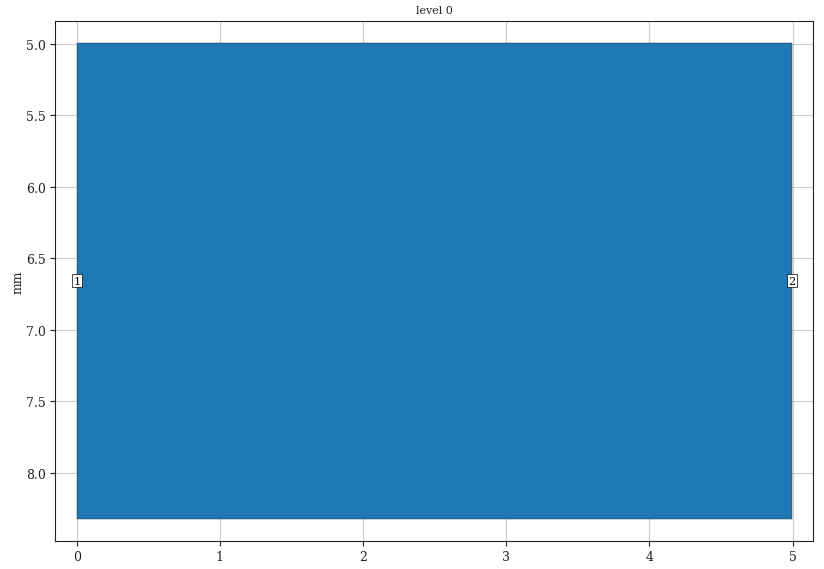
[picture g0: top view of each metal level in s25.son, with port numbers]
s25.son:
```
FTYP SONPROJ 19 ! Sonnet Project File
VER "18.53"
HEADER
LIC sonnetexample.0000
DAT 05/12/2021 21:10:31
BUILT_BY_CREATED example "18.53" 10/19/2021 01:59:07
BUILT_BY_SAVED example "18.53"
MDATE 10/25/2012 09:56:57
HDATE 10/25/2012 09:56:57
EXF
END HEADER
DIM
ANG DEG
CAP PF
CON /OH
FREQ GHZ
IND NH
LNG MM
RES OH
END DIM
CONTROL
VARSWP
OPTIONS  -d
SPEED 0
CACHE_ABS 1
Q_ACC N
END CONTROL
GEO
SYM
TMET "Lossless" 0 SUP 0 0 0 0
BMET "Lossless" 0 SUP 0 0 0 0
BOX 1 4.996541 13.31456 256 128 20 0
      0.5 1 1 0 0 0 2 "Air"
      0.5 1 1 0 0 0 2 "Air"
LORGN 0 13.31456 U 
POR1 STD
POLY 9 1
3
1 50 0 0 0 0 6.65728 
POR1 STD
POLY 9 1
1
2 50 0 0 0 4.996541 6.65728 
NUM 1
0 5 -1 N 9 1 1 100 100 0 0 0 Y
0 4.99296
4.996541 4.99296
4.996541 8.3216
0 8.3216
0 4.99296
END
END GEO
OPT
MAX 100
END OPT
VARSWP
ENABLED Y
FREQ Y AN SWEEP 15.0
END
END VARSWP
```
